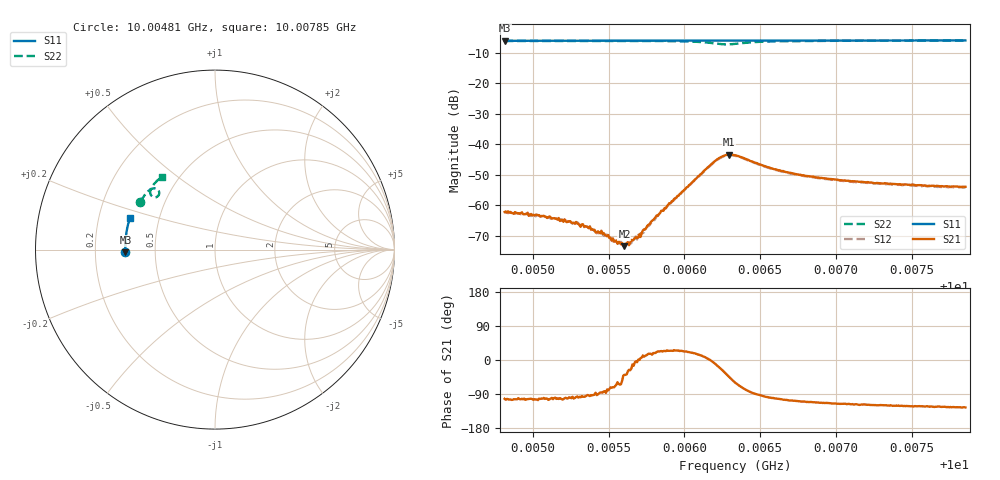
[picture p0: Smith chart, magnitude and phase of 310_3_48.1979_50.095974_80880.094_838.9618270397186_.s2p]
#  HZ  S  RI  R  50.00
! Rohde & Schwarz Vector Network Analyzer
! Rohde-Schwarz,ZNB20-2Port,1311601062101988,3.16
! Created: UTC 3/20/2024, 11:49:57 AM
! freq[Hz]  re:S11  im:S11  re:S21  im:S21  re:S12  im:S12  re:S22  im:S22
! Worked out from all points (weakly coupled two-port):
!   401 points, 10.00481 GHz to 10.00785 GHz, reference 50 ohm
!   highest |S21| = -43.44 dB at 10.0063 GHz (marker M1); lowest = -73.5 dB at 10.0056 GHz (marker M2)
!   lowest |S11| = -6.0 dB at 10.00481 GHz (marker M3), VSWR 2.99, Z = 16.7 - j0.632 ohm
!   |S11| at or under -10 dB: nowhere
!   |S22| runs from -7.2 to -6.0 dB; largest |S21 - S12| = 0.00039
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1.0004814e10  -0.499 -0.0142  -0.000167 -0.00075  -0.000123 -0.000774  -0.4156 0.267
1.0005035e10  -0.4997 0.000219  -0.000186 -0.000658  -0.000112 -0.000667  -0.4078 0.2801
1.0005285e10  -0.4999 0.0164  -6.98e-05 -0.000523  -5.42e-05 -0.000518  -0.3978 0.2949
1.0005323e10  -0.4999 0.0189  -4.39e-05 -0.000479  -4.35e-05 -0.000473  -0.3964 0.2972
1.0005369e10  -0.4998 0.0221  -2.77e-05 -0.000417  -1.57e-05 -0.000419  -0.3944 0.2999
1.000543e10  -0.4999 0.0258  -5.11e-06 -0.00037  1.35e-05 -0.000359  -0.3916 0.3035
1.0005468e10  -0.4997 0.0282  4.42e-05 -0.000345  2.89e-05 -0.000312  -0.3899 0.3059
1.0005498e10  -0.4997 0.0302  5.55e-05 -0.000317  4.9e-05 -0.000313  -0.3885 0.3078
1.0005536e10  -0.4996 0.0328  7.66e-05 -0.000238  0.000101 -0.000241  -0.3866 0.3102
1.0005604e10  -0.4994 0.0372  0.000164 -0.000133  0.000163 -0.000167  -0.383 0.3144
1.0005635e10  -0.4995 0.0391  0.000197 -9.6e-05  0.000213 -0.000101  -0.3813 0.3162
1.0005703e10  -0.4992 0.0436  0.000332 4.39e-07  0.000315 -5.42e-07  -0.3775 0.3206
1.0005832e10  -0.4985 0.0519  0.000657 0.000274  0.000637 0.000302  -0.3685 0.329
1.0006189e10  -0.4959 0.075  0.00494 -0.000492  0.00488 -0.000253  -0.315 0.3295
1.000625e10  -0.4951 0.0785  0.00563 -0.00283  0.00561 -0.00253  -0.3115 0.3087
1.0006296e10  -0.495 0.0812  0.00476 -0.00476  0.00489 -0.00445  -0.3221 0.2946
1.0006334e10  -0.4947 0.0835  0.00333 -0.00568  0.00359 -0.00538  -0.3357 0.291
1.00066e10  -0.4926 0.1006  -0.00076 -0.00379  -0.000579 -0.00373  -0.3596 0.3308
1.0006843e10  -0.4897 0.1159  -0.00106 -0.00273  -0.000943 -0.00269  -0.349 0.3528
1.0007078e10  -0.4866 0.1311  -0.0011 -0.00226  -0.000991 -0.00222  -0.3373 0.3678
1.0007352e10  -0.4821 0.148  -0.00113 -0.00192  -0.000989 -0.00195  -0.3237 0.3826
1.0007853e10  -0.4727 0.1788  -0.00115 -0.00163  -0.00105 -0.00163  -0.2981 0.4056
